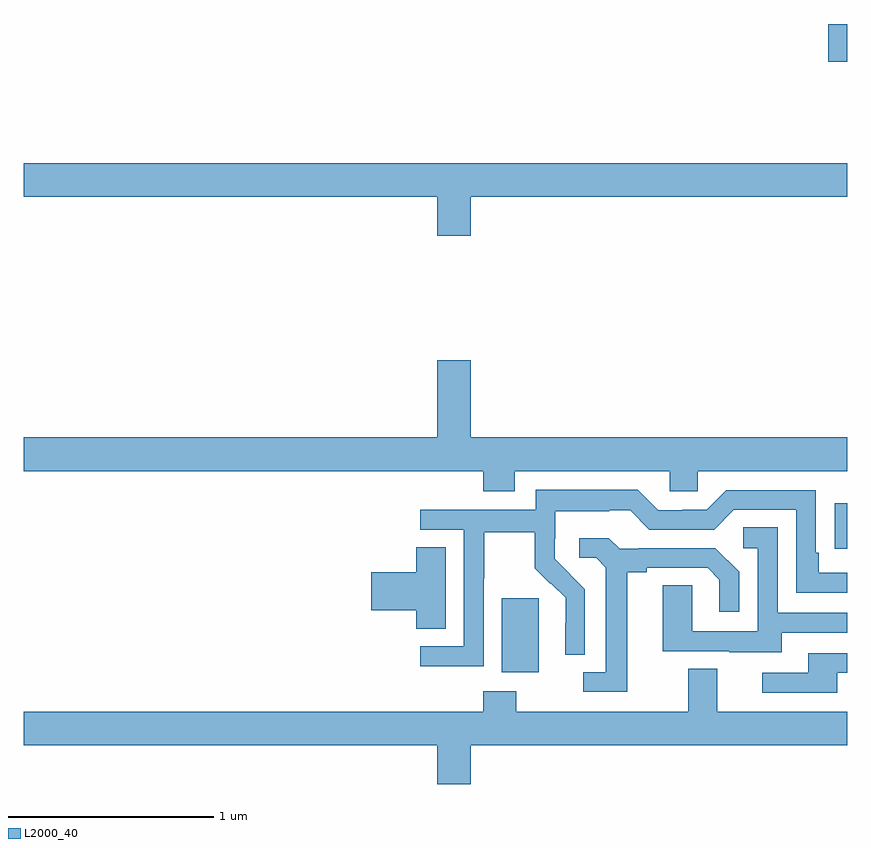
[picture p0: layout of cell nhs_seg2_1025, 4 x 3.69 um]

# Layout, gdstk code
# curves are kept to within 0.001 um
import gdstk
lib = gdstk.Library(unit=1e-6, precision=1e-09)
def R(c, l, rs):  # rectangles x0, y0, x1, y1
    for r in rs: c.add(gdstk.rectangle(r[:2], r[2:], *l))
def P(c, l, *ps):  # polygons
    for p in ps: c.add(gdstk.Polygon(p, *l))
L2000_40 = (2000, 40)

nhs_seg2_1025 = lib.new_cell('nhs_seg2_1025')
R(nhs_seg2_1025, L2000_40, [(165.323,662.642,165.502,663.003), (166.939,663.244,167,663.463), (166.908,665.609,167,665.792)])
P(nhs_seg2_1025, L2000_40, [(165.172,664.952),(167,664.952),(167,665.116),(163,665.116),(163,664.952),(165.008,664.952),(165.008,664.764),(165.172,664.764)],
  [(165.385,663.62),(166.137,663.62),(166.137,663.522),(166.275,663.522),(166.275,663.62),(167,663.62),(167,663.784),(165.172,663.784),(165.172,664.159),(165.008,664.159),(165.008,663.784),(163,663.784),(163,663.62),(165.233,663.62),(165.233,663.521),(165.385,663.521)],
  [(165.234,663.1),(165.237,663.1),(165.237,663.324),(165.481,663.324),(165.481,663.149),(165.558,663.072),(165.561,663.075),(165.632,663.005),(165.632,662.882),(165.63,662.882),(165.63,662.728),(165.726,662.728),(165.726,663.046),(165.58,663.194),(165.58,663.291),(165.582,663.291),(165.582,663.425),(165.845,663.425),(165.845,663.429),(165.945,663.429),(166.038,663.336),(166.353,663.336),(166.449,663.432),(166.752,663.432),(166.752,663.03),(167,663.03),(167,663.126),(166.861,663.126),(166.861,663.223),(166.848,663.223),(166.848,663.528),(166.413,663.528),(166.317,663.432),(166.199,663.432),(166.199,663.429),(166.083,663.429),(165.983,663.529),(165.486,663.529),(165.486,663.432),(164.925,663.432),(164.925,663.336),(165.138,663.336),(165.138,662.769),(164.925,662.769),(164.925,662.671),(165.234,662.671)],
  [(166.681,662.835),(167,662.835),(167,662.931),(166.662,662.931),(166.662,663.347),(166.494,663.347),(166.494,663.246),(166.566,663.246),(166.566,662.841),(166.248,662.841),(166.248,663.065),(166.103,663.065),(166.103,662.745),(166.427,662.745),(166.427,662.741),(166.681,662.741)],
  [(165.931,663.128),(166.027,663.128),(166.027,663.15),(166.322,663.15),(166.379,663.093),(166.379,662.937),(166.476,662.937),(166.476,663.13),(166.36,663.246),(165.988,663.246),(165.988,663.243),(165.894,663.243),(165.842,663.295),(165.699,663.295),(165.699,663.198),(165.78,663.198),(165.827,663.151),(165.827,662.643),(165.717,662.643),(165.717,662.547),(165.931,662.547)],
  [(165.049,663.251),(164.906,663.251),(164.906,663.128),(164.688,663.128),(164.688,662.945),(164.906,662.945),(164.906,662.854),(165.049,662.854)],
  [(166.951,662.64),(167,662.64),(167,662.736),(166.811,662.736),(166.811,662.64),(166.587,662.64),(166.587,662.544),(166.951,662.544)],
  [(165.172,662.288),(167,662.288),(167,662.452),(166.369,662.452),(166.369,662.66),(166.229,662.66),(166.229,662.452),(165.393,662.452),(165.393,662.551),(165.233,662.551),(165.233,662.452),(163,662.452),(163,662.288),(165.008,662.288),(165.008,662.1),(165.172,662.1)])

lib.write_gds('nhs_seg2_1025.gds')
